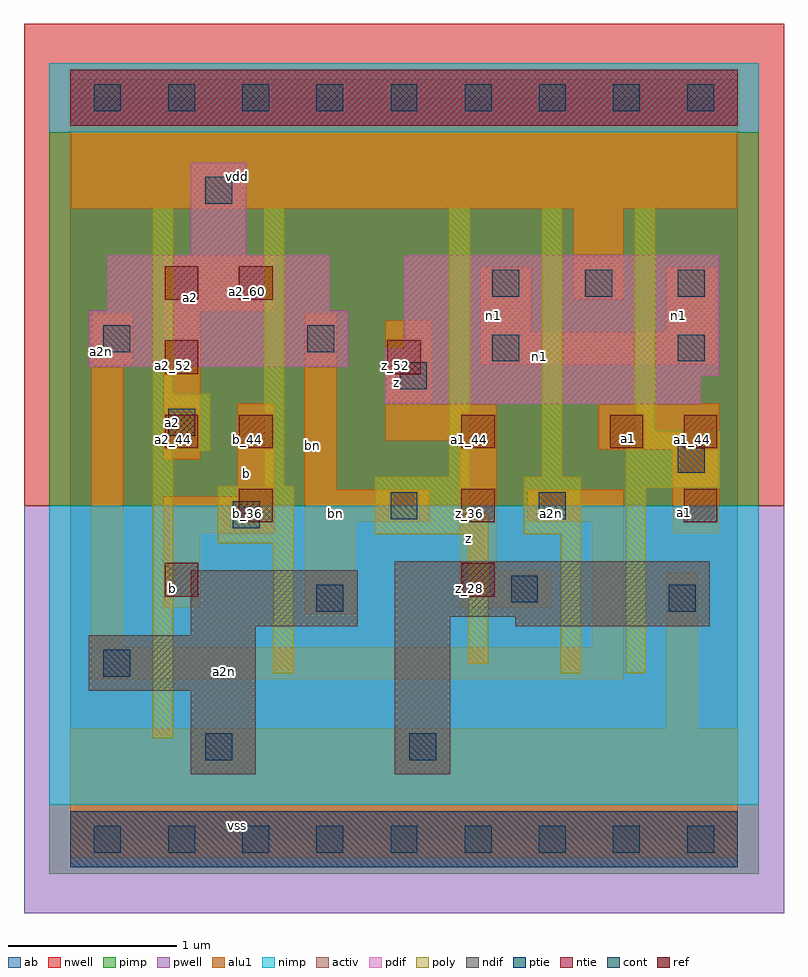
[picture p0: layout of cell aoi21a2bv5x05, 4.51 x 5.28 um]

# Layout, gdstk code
import gdstk
lib = gdstk.Library(unit=1e-6, precision=2.5e-09)
def R(c, l, rs):  # rectangles x0, y0, x1, y1
    for r in rs: c.add(gdstk.rectangle(r[:2], r[2:], *l))
def A(c, l, x, y, w, h, nx, ny, dx, dy):  # array of equal rectangles
    R(c, l, [(x+i*dx, y+j*dy, x+i*dx+w, y+j*dy+h) for i in range(nx) for j in range(ny)])
ndif = (3, 0)
pdif = (4, 0)
ntie = (5, 0)
ptie = (6, 0)
ref = (24, 0)
cont = (25, 0)
pwell = (41, 0)
nwell = (42, 0)
activ = (43, 0)
pimp = (44, 0)
nimp = (45, 0)
poly = (46, 0)
alu1 = (49, 0)
ab = (63, 0)

aoi21a2bv5x05 = lib.new_cell('aoi21a2bv5x05')
R(aoi21a2bv5x05, ndif, [(0.715,0.385,1.1,0.88), (1.925,0.385,2.255,1.32), (0.11,0.88,1.1,1.21), (0.715,1.21,1.1,1.265), (0.715,1.265,1.705,1.595), (2.64,1.265,3.795,1.32), (1.925,1.32,3.795,1.65)])
R(aoi21a2bv5x05, pdif, [(1.87,2.585,3.74,2.75), (1.87,2.75,3.85,2.915), (0.11,2.805,1.65,3.135), (1.98,2.915,3.85,3.465), (0.22,3.135,1.54,3.465), (0.715,3.465,1.045,4.015)])
R(aoi21a2bv5x05, ntie, [(0,4.235,3.96,4.565)])
R(aoi21a2bv5x05, ptie, [(0,-0.165,3.96,0.165)])
A(aoi21a2bv5x05, ref, 1, 1.88, 0.2, 0.2, 3, 1, 1.32, 0)
A(aoi21a2bv5x05, ref, 0.56, 2.32, 0.2, 0.2, 1, 3, 0, 0.44)
R(aoi21a2bv5x05, ref, [(0.56,1.44,0.76,1.64), (2.32,1.44,2.52,1.64), (1,2.32,1.2,2.52), (2.32,2.32,2.52,2.52), (3.2,2.32,3.4,2.52), (3.64,2.32,3.84,2.52), (1.88,2.76,2.08,2.96), (1,3.2,1.2,3.4)])
A(aoi21a2bv5x05, cont, 0.14, -0.08, 0.16, 0.16, 9, 2, 0.44, 4.4)
A(aoi21a2bv5x05, cont, 2.505, 3.22, 0.16, 0.16, 3, 1, 0.55, 0)
R(aoi21a2bv5x05, cont, [(0.8,0.47,0.96,0.63), (2.01,0.47,2.17,0.63), (0.195,0.965,0.355,1.125), (1.46,1.35,1.62,1.51), (3.55,1.35,3.71,1.51), (2.615,1.405,2.775,1.565), (0.965,1.845,1.125,2.005), (1.9,1.9,2.06,2.06), (2.78,1.9,2.94,2.06), (3.605,2.175,3.765,2.335), (0.58,2.395,0.74,2.555), (1.955,2.67,2.115,2.83), (2.505,2.835,2.665,2.995), (3.605,2.835,3.765,2.995), (0.195,2.89,0.355,3.05), (1.405,2.89,1.565,3.05), (0.8,3.77,0.96,3.93)])
R(aoi21a2bv5x05, pwell, [(-0.275,-0.44,4.235,1.98)])
R(aoi21a2bv5x05, nwell, [(-0.275,1.98,4.235,4.84)])
R(aoi21a2bv5x05, activ, [(0,-0.165,3.96,0.165), (0.715,0.385,1.1,0.88), (1.925,0.385,2.255,1.32), (0.11,0.88,1.1,1.21), (0.715,1.21,1.1,1.265), (0.715,1.265,1.705,1.595), (2.64,1.265,3.795,1.32), (1.925,1.32,3.795,1.65), (1.87,2.585,3.74,2.75), (1.87,2.75,3.85,2.915), (0.11,2.805,1.65,3.135), (1.98,2.915,3.85,3.465), (0.22,3.135,1.54,3.465), (0.715,3.465,1.045,4.015), (0,4.235,3.96,4.565)])
R(aoi21a2bv5x05, pimp, [(-0.125,-0.205,4.085,0.205), (-0.125,1.98,4.085,4.195)])
R(aoi21a2bv5x05, nimp, [(-0.125,0.205,4.085,1.98), (-0.125,4.195,4.085,4.605)])
R(aoi21a2bv5x05, poly, [(0.49,0.6,0.61,2.305), (1.205,0.985,1.325,1.755), (2.91,0.985,3.03,1.81), (3.295,0.985,3.415,2.085), (2.36,1.04,2.48,1.81), (0.875,1.755,1.325,2.095), (1.81,1.81,2.48,1.93), (2.69,1.81,3.03,2.15), (1.81,1.93,2.37,2.15), (3.295,2.085,3.855,2.425), (1.15,2.095,1.27,3.745), (2.25,2.15,2.37,3.745), (2.8,2.15,2.92,3.745), (0.49,2.305,0.83,2.645), (3.35,2.425,3.47,3.745), (0.49,2.645,0.61,3.745)])
R(aoi21a2bv5x05, alu1, [(0,-0.11,3.96,0.66), (3.535,0.66,3.725,1.58), (0.125,0.95,3.285,1.14), (0.125,1.14,0.315,2.82), (3.095,1.14,3.285,1.885), (1.39,1.335,1.69,1.885), (0.55,1.375,0.77,1.815), (2.31,1.375,2.86,1.595), (2.31,1.595,2.53,2.365), (0.55,1.815,1.21,2.035), (3.575,1.815,3.85,2.31), (1.39,1.885,2.13,2.075), (2.71,1.885,3.285,2.075), (0.99,2.035,1.21,2.585), (1.39,2.075,1.58,3.12), (0.55,2.255,0.77,3.135), (3.135,2.31,3.85,2.585), (1.87,2.365,2.53,2.585), (1.87,2.585,2.145,3.08), (0.125,2.82,0.37,3.12), (2.435,2.82,3.835,3.01), (2.435,3.01,2.735,3.395), (3.535,3.01,3.835,3.395), (0.55,3.135,1.21,3.465), (2.985,3.205,3.285,3.74), (0,3.74,3.96,4.51)])
R(aoi21a2bv5x05, ab, [(0,0,3.96,4.4)])
aoi21a2bv5x05.add(gdstk.Label('vss', (0.99,0.0825), layer=49, texttype=0))
aoi21a2bv5x05.add(gdstk.Label('a2n', (0.915,0.9975), layer=49, texttype=0))
aoi21a2bv5x05.add(gdstk.Label('a1', (3.6425,1.9375), layer=49, texttype=0))
aoi21a2bv5x05.add(gdstk.Label('a2n', (2.8525,1.9325), layer=49, texttype=0))
aoi21a2bv5x05.add(gdstk.Label('a1', (3.3125,2.3775), layer=49, texttype=0))
aoi21a2bv5x05.add(gdstk.Label('z', (2.365,1.7875), layer=49, texttype=0))
aoi21a2bv5x05.add(gdstk.Label('b', (0.605,1.485), layer=49, texttype=0))
aoi21a2bv5x05.add(gdstk.Label('bn', (1.575,1.9325), layer=49, texttype=0))
aoi21a2bv5x05.add(gdstk.Label('n1', (2.785,2.8675), layer=49, texttype=0))
aoi21a2bv5x05.add(gdstk.Label('n1', (3.61,3.105), layer=49, texttype=0))
aoi21a2bv5x05.add(gdstk.Label('n1', (2.51,3.105), layer=49, texttype=0))
aoi21a2bv5x05.add(gdstk.Label('z', (1.9375,2.7075), layer=49, texttype=0))
aoi21a2bv5x05.add(gdstk.Label('bn', (1.4375,2.335), layer=49, texttype=0))
aoi21a2bv5x05.add(gdstk.Label('b', (1.045,2.1725), layer=49, texttype=0))
aoi21a2bv5x05.add(gdstk.Label('a2', (0.605,2.475), layer=49, texttype=0))
aoi21a2bv5x05.add(gdstk.Label('a2n', (0.185,2.895), layer=49, texttype=0))
aoi21a2bv5x05.add(gdstk.Label('a2', (0.715,3.2175), layer=49, texttype=0))
aoi21a2bv5x05.add(gdstk.Label('vdd', (0.99,3.9325), layer=49, texttype=0))
aoi21a2bv5x05.add(gdstk.Label('z_52', (1.93,2.81), layer=24, texttype=0))
aoi21a2bv5x05.add(gdstk.Label('b_28', (0.61,1.49), layer=24, texttype=0))
aoi21a2bv5x05.add(gdstk.Label('a1_44', (3.25,2.37), layer=24, texttype=0))
aoi21a2bv5x05.add(gdstk.Label('a1_44', (3.69,2.37), layer=24, texttype=0))
aoi21a2bv5x05.add(gdstk.Label('a1_36', (3.69,1.93), layer=24, texttype=0))
aoi21a2bv5x05.add(gdstk.Label('a2_60', (1.05,3.25), layer=24, texttype=0))
aoi21a2bv5x05.add(gdstk.Label('a2_60', (0.61,3.25), layer=24, texttype=0))
aoi21a2bv5x05.add(gdstk.Label('a2_52', (0.61,2.81), layer=24, texttype=0))
aoi21a2bv5x05.add(gdstk.Label('b_36', (1.05,1.93), layer=24, texttype=0))
aoi21a2bv5x05.add(gdstk.Label('b_44', (1.05,2.37), layer=24, texttype=0))
aoi21a2bv5x05.add(gdstk.Label('z_28', (2.37,1.49), layer=24, texttype=0))
aoi21a2bv5x05.add(gdstk.Label('z_36', (2.37,1.93), layer=24, texttype=0))
aoi21a2bv5x05.add(gdstk.Label('a1_44', (2.37,2.37), layer=24, texttype=0))
aoi21a2bv5x05.add(gdstk.Label('a2_44', (0.61,2.37), layer=24, texttype=0))

lib.write_gds('aoi21a2bv5x05.gds')
